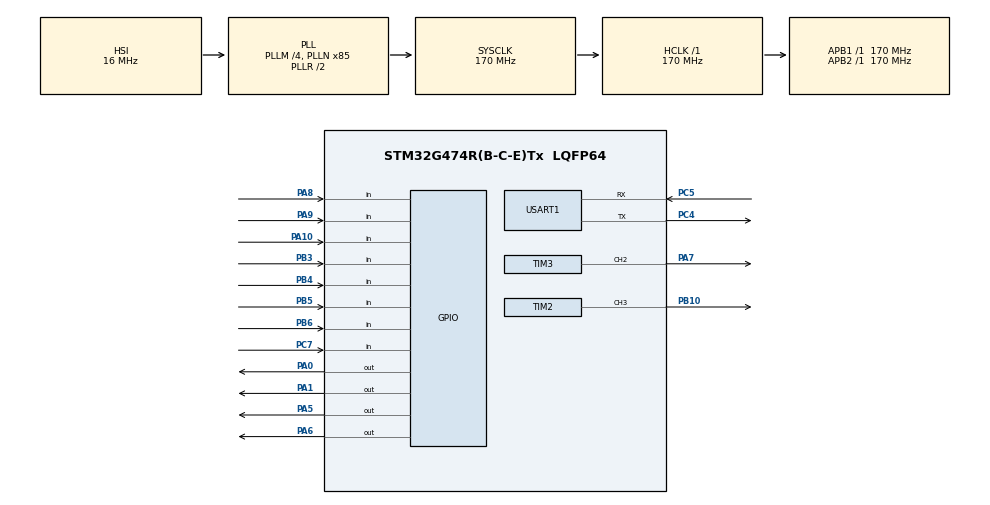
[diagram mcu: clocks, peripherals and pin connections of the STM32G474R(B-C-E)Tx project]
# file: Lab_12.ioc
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Mcu.Family=STM32G4
Mcu.Name=STM32G474R(B-C-E)Tx
Mcu.Package=LQFP64
NUCLEO-G474RE.BUTTON=1
NUCLEO-G474RE.LD2=false
NUCLEO-G474RE.VCP=false
NVIC.EXTI15_10_IRQn=true\:0\:0\:false\:false\:true\:false\:true\:true
NVIC.PriorityGroup=NVIC_PRIORITYGROUP_4
NVIC.USART1_IRQn=true\:0\:0\:false\:false\:true\:true\:true\:true
PA0.Signal=GPIO_Output
PA1.Signal=GPIO_Output
PA10.Signal=GPIO_Input
PA13.GPIO_Label=T_SWDIO
PA13.Signal=SYS_JTMS-SWDIO
PA14.GPIO_Label=T_SWCLK
PA14.Signal=SYS_JTCK-SWCLK
PA5.Signal=GPIO_Output
PA6.Signal=GPIO_Output
PA7.Signal=S_TIM3_CH2
PA8.Signal=GPIO_Input
PA9.Signal=GPIO_Input
PB10.Signal=S_TIM2_CH3
PB3.Signal=GPIO_Input
PB4.Signal=GPIO_Input
PB5.Signal=GPIO_Input
PB6.Signal=GPIO_Input
PC14-OSC32_IN.GPIO_Label=RCC_OSC32_IN
PC14-OSC32_IN.Signal=RCC_OSC32_IN
PC15-OSC32_OUT.GPIO_Label=RCC_OSC32_OUT
PC15-OSC32_OUT.Signal=RCC_OSC32_OUT
PC4.Mode=Asynchronous
PC4.Signal=USART1_TX
PC5.Mode=Asynchronous
PC5.Signal=USART1_RX
PC7.Signal=GPIO_Input
PF0-OSC_IN.GPIO_Label=RCC_OSC_IN
PF0-OSC_IN.Signal=RCC_OSC_IN
PF1-OSC_OUT.GPIO_Label=RCC_OSC_OUT
PF1-OSC_OUT.Signal=RCC_OSC_OUT
ProjectManager.HeapSize=0x200
ProjectManager.StackSize=0x400
ProjectManager.TargetToolchain=STM32CubeIDE
RCC.ADC12Freq_Value=170000000
RCC.ADC345Freq_Value=170000000
RCC.AHBFreq_Value=170000000
RCC.APB1Freq_Value=170000000
RCC.APB1TimFreq_Value=170000000
RCC.APB2Freq_Value=170000000
RCC.APB2TimFreq_Value=170000000
RCC.CortexFreq_Value=170000000
RCC.EXTERNAL_CLOCK_VALUE=12288000
RCC.HCLKFreq_Value=170000000
RCC.HSE_VALUE=24000000
RCC.HSI48_VALUE=48000000
RCC.HSI_VALUE=16000000
RCC.LSE_VALUE=32768
RCC.PLLM=RCC_PLLM_DIV4
RCC.PLLN=85
RCC.RTCClockSelection=RCC_RTCCLKSOURCE_LSE
RCC.SYSCLKFreq_VALUE=170000000
RCC.SYSCLKSource=RCC_SYSCLKSOURCE_PLLCLK
RCC.USBFreq_Value=170000000
RCC.VCOOutputFreq_Value=340000000
SH.S_TIM2_CH3.0=TIM2_CH3,PWM Generation3 CH3
SH.S_TIM3_CH2.0=TIM3_CH2,PWM Generation2 CH2
TIM2.Channel-PWM\ Generation3\ CH3=TIM_CHANNEL_3
TIM2.PeriodNoDither=99
TIM2.Prescaler=169
TIM3.Channel-PWM\ Generation2\ CH2=TIM_CHANNEL_2
TIM3.PeriodNoDither=99
TIM3.Prescaler=169
USART1.VirtualMode-Asynchronous=VM_ASYNC
VP_NUCLEO-G474RE_VS_BSP_COMMON.Mode=COMMON
VP_SYS_VS_DBSignals.Mode=DisableDeadBatterySignals
VP_TIM2_VS_ClockSourceINT.Mode=Internal
VP_TIM3_VS_ClockSourceINT.Mode=Internal
board=NUCLEO-G474RE

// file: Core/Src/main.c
/* USER CODE BEGIN Header */
/**
 ******************************************************************************
 * @file           : main.c
 * @brief          : Main program body
 ******************************************************************************
 * @attention
 *
 * Copyright (c) 2026 STMicroelectronics.
 * All rights reserved.
 *
 * This software is licensed under terms that can be found in the LICENSE file
 * in the root directory of this software component.
 * If no LICENSE file comes with this software, it is provided AS-IS.
 *
 ******************************************************************************
 */
/* USER CODE END Header */
#include "main.h"
#include "debug_uart.h"
#include <stdio.h>
#include <stdlib.h>

/* USER CODE BEGIN PTD */
typedef enum { STOPPED, FOLLOW, REVERSE } RobotState;
/* USER CODE END PTD */

/* USER CODE BEGIN PD */
#define DEFAULT_BASE_SPEED  70
#define MIN_BASE_SPEED      30
#define MAX_BASE_SPEED      90

#define MIN_PWM             55
#define MAX_PWM             90

// ── Default PID gains (tunable live from terminal) ───────────────────────────
#define KP_DEFAULT          2.2f
#define KI_DEFAULT          0.0f  // Pure PD eliminates phase-lag hunting oscillation
#define KD_DEFAULT          16.0f

#define MAX_CORRECTION      25
#define INTEGRAL_LIMIT      20.0f  // anti-windup clamp on the I-accumulator

// ── Anti-wobble tuning ───────────────────────────────────────────────────────
// Deadband only covers "perfectly centred" (sensors 3+4 both on → E=0).
// The old 0.55 deadband also swallowed E=±0.5 (one centre sensor), letting the
// robot drift a full sensor before reacting — that drift-then-kick is the snake.
#define PID_DEADBAND        0.30f
#define DERIV_ALPHA         0.35f  // derivative low-pass: new = a*raw + (1-a)*old
#define CURVE_SLOWDOWN      4.0f   // % base speed removed per unit of |E|
#define MAX_DUTY_STEP       4      // max PWM change per 10 ms tick (slew limit)
/* USER CODE END PD */

TIM_HandleTypeDef htim2;
TIM_HandleTypeDef htim3;

UART_HandleTypeDef huart1;

/* USER CODE BEGIN PV */

volatile uint8_t uartRxByte    = 0;
volatile uint8_t startCommand  = 0;
volatile uint8_t stopCommand   = 0;
volatile uint8_t reverseCommand = 0;
volatile int     baseSpeed     = DEFAULT_BASE_SPEED;
volatile uint8_t speedChanged  = 0;

// ── Live-tunable PID gains ───────────────────────────────────────────────────
volatile float Kp = KP_DEFAULT;
volatile float Ki = KI_DEFAULT;
volatile float Kd = KD_DEFAULT;
volatile uint8_t pidChanged = 0;  // set in ISR; message is formatted in main loop

RobotState robotState = STOPPED;

uint32_t lastControlTick = 0;
uint32_t lastTelemetryTick = 0;

#define CONTROL_INTERVAL_MS 10U
#define TELEMETRY_INTERVAL_MS 100U

int correction = 0;

int leftDuty = 0;
int rightDuty = 0;
uint8_t sensor[8];
uint8_t lineValid = 0;
volatile uint16_t invalidCount = 0;
float linePosition    = 0.0f;
float lineError       = 0.0f;
float prevError       = 0.0f;
volatile int8_t turnDir = 0; // +1 = RIGHT branch, -1 = LEFT branch
volatile float integralError = 0.0f;   // I-accumulator (reset from ISR on Ki change)
float filteredDeriv   = 0.0f;   // low-passed derivative state
int slewLeft  = 0;              // slew-limited duty actually applied in FOLLOW
int slewRight = 0;
uint32_t reverseHoldUntil = 0;  // non-blocking coast window before reversing
volatile uint8_t swapMotors   = 0;  // 1 = swap Left and Right channels (runtime toggle 'm')
volatile uint8_t flipSensors  = 0;  // 1 = flip S1..S8 indexing (runtime toggle 'k')
/* USER CODE END PV */

void SystemClock_Config(void);
static void MX_GPIO_Init(void);
static void MX_TIM2_Init(void);
static void MX_TIM3_Init(void);
static void MX_USART1_UART_Init(void);
/* USER CODE BEGIN PFP */
void PID_Controller(void);
void Read_Sensors(void);
void Calculate_Line_Position(void);
void Set_Motor_PWM(uint8_t left, uint8_t right);
void Set_Motor_Directions(int8_t leftDir, int8_t rightDir);
void Set_Motor_Direction_Forward(void);
void Set_Motor_Direction_Reverse(void);
/* USER CODE END PFP */

/* USER CODE BEGIN 0 */

void HAL_UART_RxCpltCallback(UART_HandleTypeDef *huart) {
  if (huart->Instance == USART1) {
    if (uartRxByte == 'S' || uartRxByte == 's') {
      startCommand = 1;
    } else if (uartRxByte == 'X' || uartRxByte == 'x') {
      stopCommand = 1;
    } else if (uartRxByte == 'R' || uartRxByte == 'r' || uartRxByte == 'B' || uartRxByte == 'b') {
      reverseCommand = 1;
    } else if (uartRxByte == '+' || uartRxByte == '=' || uartRxByte == 'u' || uartRxByte == 'U') {
      if (baseSpeed + 5 <= MAX_BASE_SPEED) {
        baseSpeed += 5;
      } else {
        baseSpeed = MAX_BASE_SPEED;
      }
      speedChanged = 1;
    } else if (uartRxByte == '-' || uartRxByte == '_' || uartRxByte == 'd' || uartRxByte == 'D') {
      if (baseSpeed - 5 >= MIN_BASE_SPEED) {
        baseSpeed -= 5;
      } else {
        baseSpeed = MIN_BASE_SPEED;
      }
      speedChanged = 1;
    } else if (uartRxByte >= '1' && uartRxByte <= '9') {
      // Direct speed presets: 1=30%, 2=35%, 3=40%, 4=45%, 5=50%, 6=55%, 7=60%, 8=70%, 9=80%
      static const int presets[] = {30, 35, 40, 45, 50, 55, 60, 70, 80};
      baseSpeed = presets[uartRxByte - '1'];
      speedChanged = 1;

    // ── Live PID gain tuning ────────────────────────────────────────────────
    // No printf in the ISR: just set pidChanged; telemetry_task() reports
    // all three gains, so the web cockpit's PID panel updates on every change.
    // P gain: q=Kp+0.5  Q=Kp+1.0  a=Kp-0.5  A=Kp-1.0
    } else if (uartRxByte == 'q') {
      Kp += 0.5f; pidChanged = 1;
    } else if (uartRxByte == 'Q') {
      Kp += 1.0f; pidChanged = 1;
    } else if (uartRxByte == 'a') {
      if (Kp > 0.5f) { Kp -= 0.5f; }
      pidChanged = 1;
    } else if (uartRxByte == 'A') {
      if (Kp > 1.0f) { Kp -= 1.0f; }
      pidChanged = 1;
    // I gain: e=Ki+0.05  E=Ki+0.2  c=Ki-0.05  C=Ki reset
    } else if (uartRxByte == 'e') {
      Ki += 0.05f; integralError = 0.0f; pidChanged = 1;
    } else if (uartRxByte == 'E') {
      Ki += 0.2f; integralError = 0.0f; pidChanged = 1;
    } else if (uartRxByte == 'c') {
      if (Ki > 0.05f) { Ki -= 0.05f; } else { Ki = 0.0f; }
      integralError = 0.0f; pidChanged = 1;
    } else if (uartRxByte == 'C') {
      Ki = 0.0f; integralError = 0.0f; pidChanged = 1;
    // D gain: w=Kd+1.0  W=Kd+2.0  z=Kd-1.0  Z=Kd-2.0
    } else if (uartRxByte == 'w') {
      Kd += 1.0f; pidChanged = 1;
    } else if (uartRxByte == 'W') {
      Kd += 2.0f; pidChanged = 1;
    } else if (uartRxByte == 'z') {
      if (Kd > 1.0f) { Kd -= 1.0f; }
      pidChanged = 1;
    } else if (uartRxByte == 'Z') {
      if (Kd > 2.0f) { Kd -= 2.0f; } else { Kd = 0.0f; }
      pidChanged = 1;
    // Print all current gains: 'g'
    } else if (uartRxByte == 'g' || uartRxByte == 'G') {
      pidChanged = 1;
    // Toggle Motor Swap: 'm' / 'M'
    } else if (uartRxByte == 'm' || uartRxByte == 'M') {
      swapMotors ^= 1;
      debug_uart_printf(">> MOTOR SWAP=%s\r\n", swapMotors ? "ON" : "OFF");
    // Toggle Sensor Bar Flip: 'k' / 'K'
    } else if (uartRxByte == 'k' || uartRxByte == 'K') {
      flipSensors ^= 1;
      debug_uart_printf(">> SENSOR FLIP=%s\r\n", flipSensors ? "ON" : "OFF");
    }

    HAL_UART_Receive_IT(&huart1, (uint8_t *)&uartRxByte, 1);
  }
}

// Re-arm reception after a UART error (overrun / framing / noise on the BLE
// link). Without this, HAL aborts the IT receive and the robot silently
// ignores every command until the next power cycle.
void HAL_UART_ErrorCallback(UART_HandleTypeDef *huart) {
  if (huart->Instance == USART1) {
    __HAL_UART_CLEAR_FLAG(huart, UART_CLEAR_OREF | UART_CLEAR_FEF |
                                 UART_CLEAR_NEF | UART_CLEAR_PEF);
    HAL_UART_Receive_IT(&huart1, (uint8_t *)&uartRxByte, 1);
  }
}

void line_follow_task(uint32_t now) {
  if ((now - lastControlTick) >= CONTROL_INTERVAL_MS) {
    lastControlTick = now;

    Read_Sensors();
    Calculate_Line_Position();

    // STOP command has priority — always wins
    if (stopCommand) {
      stopCommand = 0;
      startCommand = 0;
      reverseCommand = 0;
      Set_Motor_PWM(0, 0);
      Set_Motor_Directions(1, 1);  // restore forward direction when stopping
      leftDuty = 0;
      rightDuty = 0;
      robotState = STOPPED;
    }

    // Reverse command — works from any state, no sensor needed
    if (reverseCommand) {
      reverseCommand = 0;
      startCommand = 0;
      if (robotState != REVERSE) {
        // Coast 50 ms before reversing — non-blocking (was HAL_Delay(50),
        // which froze the control loop and telemetry).
        Set_Motor_PWM(0, 0);
        Set_Motor_Direction_Reverse();
        reverseHoldUntil = now + 50U;
        robotState = REVERSE;
      } else {
        // Press R again while already reversing → stop + restore forward
        Set_Motor_PWM(0, 0);
        Set_Motor_Direction_Forward();
        leftDuty = 0;
        rightDuty = 0;
        robotState = STOPPED;
      }
    }

    // Line loss recovery: allow up to 3000 ms (300 ticks) of active power-pivot
    // to sweep and re-acquire 90-degree corners or sharp bends before stopping
    if (robotState == FOLLOW) {
      if (!lineValid) {
        if (++invalidCount >= 300) {  // 3.0 s generous timeout
          Set_Motor_PWM(0, 0);
          Set_Motor_Directions(1, 1);
          leftDuty = 0;
          rightDuty = 0;
          robotState = STOPPED;
          startCommand = 0;
          invalidCount = 0;
          turnDir = 0;
        }
      } else {
        invalidCount = 0;
      }
    }

    // Start only when explicitly requested and line is valid
    if (startCommand && lineValid) {
      startCommand = 0;
      invalidCount = 0;
      turnDir       = 0;
      prevError     = 0.0f;   // Reset to 0 so no directional bias on launch
      integralError = 0.0f;   // reset integral on fresh start — prevents windup spike
      filteredDeriv = 0.0f;   // don't carry a stale derivative from the last run
      slewLeft      = baseSpeed;
      slewRight     = baseSpeed;
      Set_Motor_Directions(1, 1);
      robotState = FOLLOW;
    }

    // Apply motor control according to current state
    if (robotState == FOLLOW) {
      PID_Controller();
    } else if (robotState == REVERSE) {
      if ((int32_t)(now - reverseHoldUntil) < 0) {
        Set_Motor_PWM(0, 0);
      } else {
        Set_Motor_PWM((uint8_t)baseSpeed, (uint8_t)baseSpeed);
      }
    } else {
      Set_Motor_PWM(0, 0);
      leftDuty = 0;
      rightDuty = 0;
    }
  }
}
void telemetry_task(uint32_t now) {
  if ((now - lastTelemetryTick) >= TELEMETRY_INTERVAL_MS) {
    lastTelemetryTick = now;

    // Priority 1: PID gain change notification
    if (pidChanged) {
      pidChanged = 0;
      debug_uart_printf(">> PID Kp=%.1f Ki=%.2f Kd=%.1f\r\n", Kp, Ki, Kd);
      return;
    }

    // Priority 2: speed change notification
    if (speedChanged) {
      speedChanged = 0;
      debug_uart_printf(">> SPEED=%d%%\r\n", baseSpeed);
      return;
    }

    if (lineValid) {
      debug_uart_printf("VALID,STATE=%s,P=%.2f,E=%.2f,C=%d,L=%d,R=%d\r\n",
                        (robotState == FOLLOW)  ? "FOLLOW"  :
                        (robotState == REVERSE) ? "REVERSE" : "STOPPED",
                        linePosition, lineError, correction, leftDuty,
                        rightDuty);
    } else {
      debug_uart_printf("INVALID,STATE=%s\r\n",
                        (robotState == FOLLOW)  ? "FOLLOW"  :
                        (robotState == REVERSE) ? "REVERSE" : "STOPPED");
    }
  }
}
/* USER CODE END 0 */

int main(void) {

  /* MCU Configuration--------------------------------------------------------*/

  /* Reset of all peripherals, Initializes the Flash interface and the Systick.
   */
  HAL_Init();

  /* Configure the system clock */
  SystemClock_Config();

  /* Initialize all configured peripherals */
  MX_GPIO_Init();
  MX_TIM2_Init();
  MX_TIM3_Init();
  MX_USART1_UART_Init();
  HAL_UART_Receive_IT(&huart1, (uint8_t *)&uartRxByte, 1);
  /* USER CODE BEGIN 2 */
  HAL_TIM_PWM_Start(&htim3, TIM_CHANNEL_2);
  HAL_TIM_PWM_Start(&htim2, TIM_CHANNEL_3);

  // Set both motors to forward direction
  HAL_GPIO_WritePin(GPIOA, GPIO_PIN_6, GPIO_PIN_SET);   // Left IN1
  HAL_GPIO_WritePin(GPIOA, GPIO_PIN_5, GPIO_PIN_RESET); // Left IN2

  HAL_GPIO_WritePin(GPIOA, GPIO_PIN_0, GPIO_PIN_SET);   // Right IN3
  HAL_GPIO_WritePin(GPIOA, GPIO_PIN_1, GPIO_PIN_RESET); // Right IN4

  /* USER CODE END 2 */

  /* Initialize USER push-button, will be used to trigger an interrupt each time
   * it's pressed.*/
  BSP_PB_Init(BUTTON_USER, BUTTON_MODE_EXTI);

  /* Infinite loop */
  /* USER CODE BEGIN WHILE */
  while (1) {

    uint32_t now = HAL_GetTick();

    line_follow_task(now);
    telemetry_task(now);

    debug_uart_task();
  }
  /* USER CODE END 3 */
}

void SystemClock_Config(void) {
  RCC_OscInitTypeDef RCC_OscInitStruct = {0};
  RCC_ClkInitTypeDef RCC_ClkInitStruct = {0};

  /** Configure the main internal regulator output voltage
   */
  HAL_PWREx_ControlVoltageScaling(PWR_REGULATOR_VOLTAGE_SCALE1_BOOST);

  /** Initializes the RCC Oscillators according to the specified parameters
   * in the RCC_OscInitTypeDef structure.
   */
  RCC_OscInitStruct.OscillatorType = RCC_OSCILLATORTYPE_HSI;
  RCC_OscInitStruct.HSIState = RCC_HSI_ON;
  RCC_OscInitStruct.HSICalibrationValue = RCC_HSICALIBRATION_DEFAULT;
  RCC_OscInitStruct.PLL.PLLState = RCC_PLL_ON;
  RCC_OscInitStruct.PLL.PLLSource = RCC_PLLSOURCE_HSI;
  RCC_OscInitStruct.PLL.PLLM = RCC_PLLM_DIV4;
  RCC_OscInitStruct.PLL.PLLN = 85;
  RCC_OscInitStruct.PLL.PLLP = RCC_PLLP_DIV2;
  RCC_OscInitStruct.PLL.PLLQ = RCC_PLLQ_DIV2;
  RCC_OscInitStruct.PLL.PLLR = RCC_PLLR_DIV2;
  if (HAL_RCC_OscConfig(&RCC_OscInitStruct) != HAL_OK) {
    Error_Handler();
  }

  /** Initializes the CPU, AHB and APB buses clocks
   */
  RCC_ClkInitStruct.ClockType = RCC_CLOCKTYPE_HCLK | RCC_CLOCKTYPE_SYSCLK |
                                RCC_CLOCKTYPE_PCLK1 | RCC_CLOCKTYPE_PCLK2;
  RCC_ClkInitStruct.SYSCLKSource = RCC_SYSCLKSOURCE_PLLCLK;
  RCC_ClkInitStruct.AHBCLKDivider = RCC_SYSCLK_DIV1;
  RCC_ClkInitStruct.APB1CLKDivider = RCC_HCLK_DIV1;
  RCC_ClkInitStruct.APB2CLKDivider = RCC_HCLK_DIV1;

  if (HAL_RCC_ClockConfig(&RCC_ClkInitStruct, FLASH_LATENCY_4) != HAL_OK) {
    Error_Handler();
  }
}

static void MX_TIM2_Init(void) {

  TIM_ClockConfigTypeDef sClockSourceConfig = {0};
  TIM_MasterConfigTypeDef sMasterConfig = {0};
  TIM_OC_InitTypeDef sConfigOC = {0};

  htim2.Instance = TIM2;
  htim2.Init.Prescaler = 169;
  htim2.Init.CounterMode = TIM_COUNTERMODE_UP;
  htim2.Init.Period = 99;
  htim2.Init.ClockDivision = TIM_CLOCKDIVISION_DIV1;
  htim2.Init.AutoReloadPreload = TIM_AUTORELOAD_PRELOAD_DISABLE;
  if (HAL_TIM_Base_Init(&htim2) != HAL_OK) {
    Error_Handler();
  }
  sClockSourceConfig.ClockSource = TIM_CLOCKSOURCE_INTERNAL;
  if (HAL_TIM_ConfigClockSource(&htim2, &sClockSourceConfig) != HAL_OK) {
    Error_Handler();
  }
  if (HAL_TIM_PWM_Init(&htim2) != HAL_OK) {
    Error_Handler();
  }
  sMasterConfig.MasterOutputTrigger = TIM_TRGO_RESET;
  sMasterConfig.MasterSlaveMode = TIM_MASTERSLAVEMODE_DISABLE;
  if (HAL_TIMEx_MasterConfigSynchronization(&htim2, &sMasterConfig) != HAL_OK) {
    Error_Handler();
  }
  sConfigOC.OCMode = TIM_OCMODE_PWM1;
  sConfigOC.Pulse = 0;
  sConfigOC.OCPolarity = TIM_OCPOLARITY_HIGH;
  sConfigOC.OCFastMode = TIM_OCFAST_DISABLE;
  if (HAL_TIM_PWM_ConfigChannel(&htim2, &sConfigOC, TIM_CHANNEL_3) != HAL_OK) {
    Error_Handler();
  }
  HAL_TIM_MspPostInit(&htim2);
}

static void MX_TIM3_Init(void) {

  TIM_ClockConfigTypeDef sClockSourceConfig = {0};
  TIM_MasterConfigTypeDef sMasterConfig = {0};
  TIM_OC_InitTypeDef sConfigOC = {0};

  htim3.Instance = TIM3;
  htim3.Init.Prescaler = 169;
  htim3.Init.CounterMode = TIM_COUNTERMODE_UP;
  htim3.Init.Period = 99;
  htim3.Init.ClockDivision = TIM_CLOCKDIVISION_DIV1;
  htim3.Init.AutoReloadPreload = TIM_AUTORELOAD_PRELOAD_DISABLE;
  if (HAL_TIM_Base_Init(&htim3) != HAL_OK) {
    Error_Handler();
  }
  sClockSourceConfig.ClockSource = TIM_CLOCKSOURCE_INTERNAL;
  if (HAL_TIM_ConfigClockSource(&htim3, &sClockSourceConfig) != HAL_OK) {
    Error_Handler();
  }
  if (HAL_TIM_PWM_Init(&htim3) != HAL_OK) {
    Error_Handler();
  }
  sMasterConfig.MasterOutputTrigger = TIM_TRGO_RESET;
  sMasterConfig.MasterSlaveMode = TIM_MASTERSLAVEMODE_DISABLE;
  if (HAL_TIMEx_MasterConfigSynchronization(&htim3, &sMasterConfig) != HAL_OK) {
    Error_Handler();
  }
  sConfigOC.OCMode = TIM_OCMODE_PWM1;
  sConfigOC.Pulse = 0;
  sConfigOC.OCPolarity = TIM_OCPOLARITY_HIGH;
  sConfigOC.OCFastMode = TIM_OCFAST_DISABLE;
  if (HAL_TIM_PWM_ConfigChannel(&htim3, &sConfigOC, TIM_CHANNEL_2) != HAL_OK) {
    Error_Handler();
  }
  HAL_TIM_MspPostInit(&htim3);
}

static void MX_USART1_UART_Init(void) {

  huart1.Instance = USART1;
  huart1.Init.BaudRate = 115200;
  huart1.Init.WordLength = UART_WORDLENGTH_8B;
  huart1.Init.StopBits = UART_STOPBITS_1;
  huart1.Init.Parity = UART_PARITY_NONE;
  huart1.Init.Mode = UART_MODE_TX_RX;
  huart1.Init.HwFlowCtl = UART_HWCONTROL_NONE;
  huart1.Init.OverSampling = UART_OVERSAMPLING_16;
  huart1.Init.OneBitSampling = UART_ONE_BIT_SAMPLE_DISABLE;
  huart1.Init.ClockPrescaler = UART_PRESCALER_DIV1;
  huart1.AdvancedInit.AdvFeatureInit = UART_ADVFEATURE_NO_INIT;
  if (HAL_UART_Init(&huart1) != HAL_OK) {
    Error_Handler();
  }
  if (HAL_UARTEx_SetTxFifoThreshold(&huart1, UART_TXFIFO_THRESHOLD_1_8) !=
      HAL_OK) {
    Error_Handler();
  }
  if (HAL_UARTEx_SetRxFifoThreshold(&huart1, UART_RXFIFO_THRESHOLD_1_8) !=
      HAL_OK) {
    Error_Handler();
  }
  if (HAL_UARTEx_DisableFifoMode(&huart1) != HAL_OK) {
    Error_Handler();
  }
}

static void MX_GPIO_Init(void) {
  GPIO_InitTypeDef GPIO_InitStruct = {0};

  /* GPIO Ports Clock Enable */
  __HAL_RCC_GPIOC_CLK_ENABLE();
  __HAL_RCC_GPIOF_CLK_ENABLE();
  __HAL_RCC_GPIOA_CLK_ENABLE();
  __HAL_RCC_GPIOB_CLK_ENABLE();

  /*Configure GPIO pin Output Level */
  HAL_GPIO_WritePin(GPIOA, GPIO_PIN_0 | GPIO_PIN_1 | GPIO_PIN_5 | GPIO_PIN_6,
                    GPIO_PIN_RESET);

  /*Configure GPIO pins : PA0 PA1 PA5 PA6 */
  GPIO_InitStruct.Pin = GPIO_PIN_0 | GPIO_PIN_1 | GPIO_PIN_5 | GPIO_PIN_6;
  GPIO_InitStruct.Mode = GPIO_MODE_OUTPUT_PP;
  GPIO_InitStruct.Pull = GPIO_NOPULL;
  GPIO_InitStruct.Speed = GPIO_SPEED_FREQ_LOW;
  HAL_GPIO_Init(GPIOA, &GPIO_InitStruct);

  /*Configure GPIO pin : PC7 */
  GPIO_InitStruct.Pin = GPIO_PIN_7;
  GPIO_InitStruct.Mode = GPIO_MODE_INPUT;
  GPIO_InitStruct.Pull = GPIO_NOPULL;
  HAL_GPIO_Init(GPIOC, &GPIO_InitStruct);

  /*Configure GPIO pins : PA8 PA9 PA10 */
  GPIO_InitStruct.Pin = GPIO_PIN_8 | GPIO_PIN_9 | GPIO_PIN_10;
  GPIO_InitStruct.Mode = GPIO_MODE_INPUT;
  GPIO_InitStruct.Pull = GPIO_NOPULL;
  HAL_GPIO_Init(GPIOA, &GPIO_InitStruct);

  /*Configure GPIO pins : PB3 PB4 PB5 PB6 */
  GPIO_InitStruct.Pin = GPIO_PIN_3 | GPIO_PIN_4 | GPIO_PIN_5 | GPIO_PIN_6;
  GPIO_InitStruct.Mode = GPIO_MODE_INPUT;
  GPIO_InitStruct.Pull = GPIO_NOPULL;
  HAL_GPIO_Init(GPIOB, &GPIO_InitStruct);

}

/* USER CODE BEGIN 4 */

static int Slew(int current, int target) {
  if (target > current + MAX_DUTY_STEP) return current + MAX_DUTY_STEP;
  if (target < current - MAX_DUTY_STEP) return current - MAX_DUTY_STEP;
  return target;
}

void PID_Controller(void) {
  if (!lineValid) {
    // ── Active Line Loss / Sharp Bend Recovery ───────────────────────────
    integralError = 0.0f;
    filteredDeriv = 0.0f;
    // Re-acquire from cruise speed, not from the pivot duties
    slewLeft  = baseSpeed;
    slewRight = baseSpeed;

    // First 150ms (15 ticks): drive straight forward to clear any brief sensor drop,
    // surface dip, or tape gap. Also keep driving straight if we were not actively turning!
    if (invalidCount <= 15 || turnDir == 0) {
      Set_Motor_Directions(1, 1);
      Set_Motor_PWM((uint8_t)baseSpeed, (uint8_t)baseSpeed);
      leftDuty = baseSpeed;
      rightDuty = baseSpeed;
      return;
    }

    // After 150ms of confirmed line loss ONLY if we were actively turning:
    // execute active corner search pivot in the direction of the turn
    if (turnDir == +1) {
      // ── 90° RIGHT TURN PIVOT ──────────────────────────────────────────
      Set_Motor_Directions(+1, -1);
      Set_Motor_PWM(80, 45);
      leftDuty = 80;
      rightDuty = -45;
    } else if (turnDir == -1) {
      // ── 90° LEFT TURN PIVOT ───────────────────────────────────────────
      Set_Motor_Directions(-1, +1);
      Set_Motor_PWM(45, 80);
      leftDuty = -45;
      rightDuty = 80;
    }
    return;
  }

  // ── Line is valid: Ensure Forward motor directions ─────────────────────
  Set_Motor_Directions(1, 1);

  float absError = (lineError >= 0.0f) ? lineError : -lineError;

  // ── Derivative: updated EVERY tick so the filter never holds a stale value
  // (previously it froze inside the deadband and fired on the next exit).
  float rawDeriv = lineError - prevError;
  prevError = lineError;
  filteredDeriv = DERIV_ALPHA * rawDeriv + (1.0f - DERIV_ALPHA) * filteredDeriv;

  // ── Integral with anti-windup clamp (Ki = 0 by default → no effect) ─────
  if (Ki > 0.0f) {
    integralError += lineError;
    if (integralError > INTEGRAL_LIMIT)  integralError = INTEGRAL_LIMIT;
    if (integralError < -INTEGRAL_LIMIT) integralError = -INTEGRAL_LIMIT;
  } else {
    integralError = 0.0f;
  }
  float i_term = Ki * integralError;

  float corr;
  if (absError < PID_DEADBAND) {
    corr = i_term;  // centred: no P/D kick, only slow trim
  } else {
    corr = Kp * lineError + Kd * filteredDeriv + i_term;
  }

  if (corr > MAX_CORRECTION)  corr = MAX_CORRECTION;
  if (corr < -MAX_CORRECTION) corr = -MAX_CORRECTION;

  // Round instead of truncate (truncation threw away up to 1% each tick)
  correction = (int)((corr >= 0.0f) ? (corr + 0.5f) : (corr - 0.5f));

  // ── Stall floor scales with base speed ─────────────────────────────────
  // At the default 70% this is exactly MIN_PWM (55). At low presets it drops
  // so 30–50% speeds actually run slower instead of being clamped up to 55%.
  int pwmFloor = (baseSpeed * MIN_PWM) / DEFAULT_BASE_SPEED;
  if (pwmFloor > MIN_PWM) pwmFloor = MIN_PWM;

  // ── Slow down in curves: less speed → less overshoot → less snaking ────
  int cruise = baseSpeed - (int)(CURVE_SLOWDOWN * absError);
  if (cruise < pwmFloor) cruise = pwmFloor;

  int lTarget = cruise + correction;
  int rTarget = cruise - correction;

  if (lTarget > MAX_PWM)  lTarget = MAX_PWM;
  if (rTarget > MAX_PWM)  rTarget = MAX_PWM;
  if (lTarget < pwmFloor) lTarget = pwmFloor;
  if (rTarget < pwmFloor) rTarget = pwmFloor;

  // ── Slew-rate limit: no instant PWM jumps → no steering "kicks" ────────
  slewLeft  = Slew(slewLeft,  lTarget);
  slewRight = Slew(slewRight, rTarget);

  leftDuty  = slewLeft;
  rightDuty = slewRight;

  Set_Motor_PWM((uint8_t)leftDuty, (uint8_t)rightDuty);
}

void Set_Motor_PWM(uint8_t left, uint8_t right) {
  if (swapMotors) {
    uint8_t tmp = left;
    left = right;
    right = tmp;
  }

  if (left > 100)
    left = 100;
  if (right > 100)
    right = 100;

  uint32_t leftARR = __HAL_TIM_GET_AUTORELOAD(&htim3);
  uint32_t rightARR = __HAL_TIM_GET_AUTORELOAD(&htim2);

  uint32_t leftCompare = (left * (leftARR + 1)) / 100;
  uint32_t rightCompare = (right * (rightARR + 1)) / 100;

  if (leftCompare > leftARR)
    leftCompare = leftARR;
  if (rightCompare > rightARR)
    rightCompare = rightARR;

  __HAL_TIM_SET_COMPARE(&htim3, TIM_CHANNEL_2, leftCompare);
  __HAL_TIM_SET_COMPARE(&htim2, TIM_CHANNEL_3, rightCompare);
}

void Set_Motor_Directions(int8_t leftDir, int8_t rightDir) {
  if (swapMotors) {
    int8_t tmp = leftDir;
    leftDir = rightDir;
    rightDir = tmp;
  }

  // Left motor: IN1 (PA6), IN2 (PA5)
  if (leftDir > 0) {
    HAL_GPIO_WritePin(GPIOA, GPIO_PIN_6, GPIO_PIN_SET);
    HAL_GPIO_WritePin(GPIOA, GPIO_PIN_5, GPIO_PIN_RESET);
  } else if (leftDir < 0) {
    HAL_GPIO_WritePin(GPIOA, GPIO_PIN_6, GPIO_PIN_RESET);
    HAL_GPIO_WritePin(GPIOA, GPIO_PIN_5, GPIO_PIN_SET);
  } else {
    HAL_GPIO_WritePin(GPIOA, GPIO_PIN_6, GPIO_PIN_RESET);
    HAL_GPIO_WritePin(GPIOA, GPIO_PIN_5, GPIO_PIN_RESET);
  }

  // Right motor: IN3 (PA0), IN4 (PA1)
  if (rightDir > 0) {
    HAL_GPIO_WritePin(GPIOA, GPIO_PIN_0, GPIO_PIN_SET);
    HAL_GPIO_WritePin(GPIOA, GPIO_PIN_1, GPIO_PIN_RESET);
  } else if (rightDir < 0) {
    HAL_GPIO_WritePin(GPIOA, GPIO_PIN_0, GPIO_PIN_RESET);
    HAL_GPIO_WritePin(GPIOA, GPIO_PIN_1, GPIO_PIN_SET);
  } else {
    HAL_GPIO_WritePin(GPIOA, GPIO_PIN_0, GPIO_PIN_RESET);
    HAL_GPIO_WritePin(GPIOA, GPIO_PIN_1, GPIO_PIN_RESET);
  }
}

void Set_Motor_Direction_Forward(void) {
  Set_Motor_Directions(1, 1);
}

void Set_Motor_Direction_Reverse(void) {
  Set_Motor_Directions(-1, -1);
}

void Calculate_Line_Position(void) {
  int sum = 0;
  int count = 0;

  for (int i = 0; i < 8; i++) {
    if (sensor[i] == 1) {
      sum += i;
      count++;
    }
  }

  // ── Corner Recovery Fast Re-Acquisition ────────────────────────────────
  // When in active corner pivot (invalidCount > 0), as soon as any center
  // sensor (2, 3, 4, 5) sweeps across black tape, lock onto the new line immediately!
  if (robotState == FOLLOW && invalidCount > 0 && count > 0) {
    if (sensor[2] == 1 || sensor[3] == 1 || sensor[4] == 1 || sensor[5] == 1) {
      lineValid = 1;
      invalidCount = 0;
      turnDir = 0;
      linePosition = (float)sum / count;
      lineError = linePosition - 3.5f;
      prevError = lineError;
      return;
    }
  }

  // No sensor detects black (lost line / overshoot)
  if (count == 0) {
    lineValid = 0;
    return;
  }

  // ── Grid Intersection / Cross-Line Detection ───────────────────────────
  // When crossing perpendicular grid lines, 5 or more sensors see black tape.
  // If center sensors see black, the forward track continues straight ahead!
  if (count >= 5) {
    if (sensor[3] == 1 || sensor[4] == 1 || (sensor[2] == 1 && sensor[5] == 1)) {
      lineValid = 1;
      linePosition = 3.5f;  // Lock dead-center forward across the cross-line
      lineError = 0.0f;
      // Maintain straight forward heading through grid intersection
      return;
    }
  }

  // ── Normal Line Tracking ───────────────────────────────────────────────
  lineValid = 1;
  linePosition = (float)sum / count;
  lineError = linePosition - 3.5f;

  // Latch turn direction on significant lateral deviation
  if (lineError > 1.2f) {
    turnDir = +1;
  } else if (lineError < -1.2f) {
    turnDir = -1;
  } else if (lineError > -0.6f && lineError < 0.6f) {
    turnDir = 0;  // Centered on the line again — clear turn latch!
  }
}

void Read_Sensors(void) {
  uint8_t raw[8];
  raw[0] = HAL_GPIO_ReadPin(GPIOA, GPIO_PIN_10);
  raw[1] = HAL_GPIO_ReadPin(GPIOB, GPIO_PIN_3);
  raw[2] = HAL_GPIO_ReadPin(GPIOB, GPIO_PIN_5);
  raw[3] = HAL_GPIO_ReadPin(GPIOB, GPIO_PIN_4);

  raw[4] = HAL_GPIO_ReadPin(GPIOA, GPIO_PIN_8);
  raw[5] = HAL_GPIO_ReadPin(GPIOA, GPIO_PIN_9);
  raw[6] = HAL_GPIO_ReadPin(GPIOC, GPIO_PIN_7);
  raw[7] = HAL_GPIO_ReadPin(GPIOB, GPIO_PIN_6);

  if (flipSensors) {
    for (int i = 0; i < 8; i++) {
      sensor[i] = raw[7 - i];
    }
  } else {
    for (int i = 0; i < 8; i++) {
      sensor[i] = raw[i];
    }
  }
}
/* USER CODE END 4 */

void Error_Handler(void) {
  __disable_irq();
  while (1) {
  }
}
#ifdef USE_FULL_ASSERT
/**
 * @brief  Reports the name of the source file and the source line number
 *         where the assert_param error has occurred.
 * @param  file: pointer to the source file name
 * @param  line: assert_param error line source number
 * @retval None
 */
void assert_failed(uint8_t *file, uint32_t line) {
  /* USER CODE BEGIN 6 */
  /* User can add his own implementation to report the file name and line
     number, ex: printf("Wrong parameters value: file %s on line %d\r\n", file,
     line) */
  /* USER CODE END 6 */
}
#endif /* USE_FULL_ASSERT */
